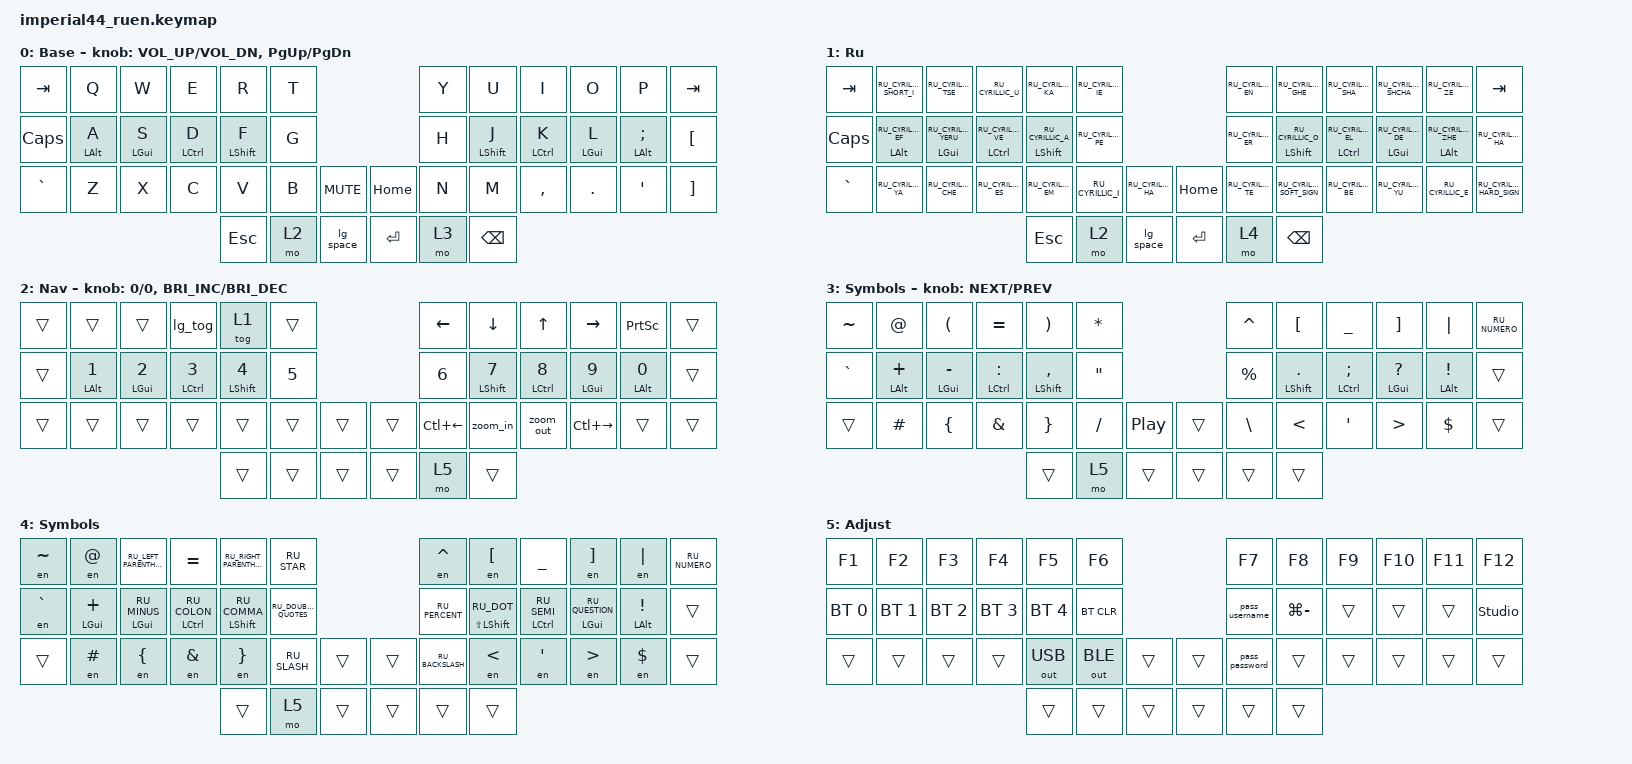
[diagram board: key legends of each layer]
#include "keys_ru.h"
#include <behaviors.dtsi>
#include <dt-bindings/zmk/bt.h>
#include <dt-bindings/zmk/keys.h>
#include <dt-bindings/zmk/outputs.h>

/ {
    combos { compatible = "zmk,combos"; };

    macros {
        to_ru: to_ru {
            compatible = "zmk,behavior-macro";
            #binding-cells = <0>;
            bindings = <&kp LG(SPACE)>;
            label = "TO_RU";
            wait-ms = <0>;
            tap-ms = <30>;
        };

        to_en: to_en {
            compatible = "zmk,behavior-macro";
            #binding-cells = <0>;
            bindings = <&kp LG(SPACE)>;
            label = "TO_EN";
            wait-ms = <0>;
            tap-ms = <30>;
        };

        layer_en: layer_en {
            compatible = "zmk,behavior-macro";
            #binding-cells = <0>;
            bindings = <&to 0 &to_en>;
            label = "LAYER_EN";
            wait-ms = <0>;
            tap-ms = <30>;
        };

        layer_ru: layer_ru {
            compatible = "zmk,behavior-macro";
            #binding-cells = <0>;
            bindings = <&to 1 &to_ru>;
            label = "LAYER_RU";
            tap-ms = <30>;
            wait-ms = <0>;
        };

        en: en {
            compatible = "zmk,behavior-macro-one-param";
            #binding-cells = <1>;
            bindings =
                <&to_en>,
                <&macro_press>,
                <&macro_param_1to1 &kp MACRO_PLACEHOLDER>,
                <&macro_pause_for_release>,
                <&macro_release>,
                <&macro_param_1to1 &kp MACRO_PLACEHOLDER>,
                <&macro_tap>,
                <&to_ru>;

            label = "EN";
            wait-ms = <0>;
            tap-ms = <30>;
        };

        lg_tog: lg_tog {
            compatible = "zmk,behavior-macro";
            #binding-cells = <0>;
            bindings = <&kp LG(SPACE) &tog 1>;
            label = "LG_TOG";
        };

        pass_username: next_window {
            compatible = "zmk,behavior-macro";
            #binding-cells = <0>;
            bindings = <&kp LG(LS(F1))>;
            label = "NEXT_WINDOW";
        };

        pass_password: pass_password {
            compatible = "zmk,behavior-macro";
            #binding-cells = <0>;
            bindings = <&kp LG(F1)>;
            label = "PASS_PASSWORD";
        };

        zoom_in: zoom_in {
            compatible = "zmk,behavior-macro";
            #binding-cells = <0>;
            bindings = <&kp LC(PLUS)>;
            label = "ZOOM_IN";
        };

        zoom_out: zoom_out {
            compatible = "zmk,behavior-macro";
            #binding-cells = <0>;
            bindings = <&kp LC(LS(MINUS))>;
            label = "ZOOM_OUT";
        };
    };

    behaviors {
        lg_space: lg_space {
            compatible = "zmk,behavior-mod-morph";
            label = "toggle 'ru' layer with LGUI";
            bindings = <&kp SPACE>, <&lg_tog>;

            #binding-cells = <0>;
            mods = <(MOD_LGUI)>;
        };

        HMShiftR: HMShiftR {
            compatible = "zmk,behavior-hold-tap";
            label = "HMSHIFTR";
            bindings = <&kp>, <&kp>;

            #binding-cells = <2>;
            tapping-term-ms = <300>;
            hold-while-undecided;
            hold-trigger-key-positions = <0 12 24 25 13 1 2 3 4 5 14 15 16 17 26 27 28 29 30 28 29 30 38 39 40>;
            hold-trigger-on-release;
        };

        HMShiftL: HMShiftL {
            compatible = "zmk,behavior-hold-tap";
            label = "HMSHIFTL";
            bindings = <&kp>, <&kp>;

            #binding-cells = <2>;
            tapping-term-ms = <300>;
            hold-while-undecided;
            hold-trigger-key-positions = <6 7 8 9 10 11 18 19 20 21 22 23 31 32 33 34 35 36 37 41 42 43>;
            hold-trigger-on-release;
        };

        HMR: HMR {
            compatible = "zmk,behavior-hold-tap";
            label = "HMR";
            bindings = <&kp>, <&kp>;

            #binding-cells = <2>;
            tapping-term-ms = <200>;
            flavor = "balanced";
            hold-trigger-key-positions = <0 1 2 4 5 12 13 14 15 16 17 24 25 26 27 28 29 30 3>;
            quick-tap-ms = <175>;
        };

        HML: HML {
            compatible = "zmk,behavior-hold-tap";
            label = "HML";
            bindings = <&kp>, <&kp>;

            #binding-cells = <2>;
            tapping-term-ms = <200>;
            flavor = "balanced";
            hold-trigger-key-positions = <6 7 8 9 10 11 18 19 20 21 22 23 31 32 33 34 35 36 37>;
            quick-tap-ms = <175>;
        };
    };

    keymap {
        compatible = "zmk,keymap";

        en {
            bindings = <
&kp TAB       &kp Q            &kp W            &kp E         &kp R              &kp T                           &kp Y  &kp U              &kp I         &kp O            &kp P               &kp TAB
&kp CAPSLOCK  &HML LEFT_ALT A  &HML LEFT_GUI S  &HML LCTRL D  &HML LEFT_SHIFT F  &kp G                           &kp H  &HMR LEFT_SHIFT J  &HMR LCTRL K  &HMR LEFT_GUI L  &HMR LEFT_ALT SEMI  &kp LEFT_BRACKET
&kp GRAVE     &kp Z            &kp X            &kp C         &kp V              &kp B  &kp C_MUTE    &kp HOME   &kp N  &kp M              &kp COMMA     &kp DOT          &kp SQT             &kp RIGHT_BRACKET
                                                              &kp ESC            &mo 2  &lg_space     &kp ENTER  &mo 3  &kp BACKSPACE
            >;

            display-name = "Base";
            sensor-bindings =
                <&inc_dec_kp C_VOL_UP C_VOL_DN>,
                <&inc_dec_kp PG_UP PG_DN>;
        };

        ru {
            display-name = "Ru";
            bindings = <
&kp TAB       &kp RU_CYRILLIC_SHORT_I       &kp RU_CYRILLIC_TSE             &kp RU_CYRILLIC_U          &kp RU_CYRILLIC_KA             &kp RU_CYRILLIC_IE                                   &kp RU_CYRILLIC_EN  &kp RU_CYRILLIC_GHE            &kp RU_CYRILLIC_SHA        &kp RU_CYRILLIC_SHCHA         &kp RU_CYRILLIC_ZE             &kp TAB
&kp CAPSLOCK  &HML LEFT_ALT RU_CYRILLIC_EF  &HML LEFT_GUI RU_CYRILLIC_YERU  &HML LCTRL RU_CYRILLIC_VE  &HML LEFT_SHIFT RU_CYRILLIC_A  &kp RU_CYRILLIC_PE                                   &kp RU_CYRILLIC_ER  &HMR LEFT_SHIFT RU_CYRILLIC_O  &HMR LCTRL RU_CYRILLIC_EL  &HMR LEFT_GUI RU_CYRILLIC_DE  &HMR LEFT_ALT RU_CYRILLIC_ZHE  &kp RU_CYRILLIC_HA
&kp GRAVE     &kp RU_CYRILLIC_YA            &kp RU_CYRILLIC_CHE             &kp RU_CYRILLIC_ES         &kp RU_CYRILLIC_EM             &kp RU_CYRILLIC_I   &kp RU_CYRILLIC_HA    &kp HOME   &kp RU_CYRILLIC_TE  &kp RU_CYRILLIC_SOFT_SIGN      &kp RU_CYRILLIC_BE         &kp RU_CYRILLIC_YU            &kp RU_CYRILLIC_E              &kp RU_CYRILLIC_HARD_SIGN
                                                                                                       &kp ESC                        &mo 2               &lg_space             &kp ENTER  &mo 4               &kp BACKSPACE
            >;
        };

        nav {
            bindings = <
&trans  &trans            &trans            &lg_tog        &tog 1              &trans                    &kp LEFT            &kp DOWN            &kp UP         &kp RIGHT         &kp PSCRN         &trans
&trans  &HML LEFT_ALT N1  &HML LEFT_GUI N2  &HML LCTRL N3  &HML LEFT_SHIFT N4  &kp N5                    &kp N6              &HMR LEFT_SHIFT N7  &HMR LCTRL N8  &HMR LEFT_GUI N9  &HMR LEFT_ALT N0  &trans
&trans  &trans            &trans            &trans         &trans              &trans  &trans    &trans  &kp LC(LEFT_ARROW)  &zoom_in            &zoom_out      &kp LC(RIGHT)     &trans            &trans
                                                           &trans              &trans  &trans    &trans  &mo 5               &trans
            >;

            display-name = "Nav";
            sensor-bindings =
                <&inc_dec_kp 0 0>,
                <&inc_dec_kp C_BRIGHTNESS_INC C_BRIGHTNESS_DEC>;
        };

        sym_en {
            bindings = <
&kp TILDE  &kp AT              &kp LPAR             &kp EQUAL         &kp RPAR               &kp ASTRK                              &kp CARET      &kp LBKT         &kp UNDER         &kp RBKT                &kp PIPE            &kp RU_NUMERO
&kp GRAVE  &HML LEFT_ALT PLUS  &HML LEFT_GUI MINUS  &HML LCTRL COLON  &HML LEFT_SHIFT COMMA  &kp DQT                                &kp PRCNT      &HMR LSHIFT DOT  &HMR LCTRL SEMI   &HMR LEFT_GUI QUESTION  &HMR LEFT_ALT EXCL  &trans
&trans     &kp HASH            &kp LEFT_BRACE       &kp AMPERSAND     &kp RIGHT_BRACE        &kp FSLH   &kp C_PLAY_PAUSE    &trans  &kp BACKSLASH  &kp LESS_THAN    &kp SINGLE_QUOTE  &kp GREATER_THAN        &kp DOLLAR          &trans
                                                                      &trans                 &mo 5      &trans              &trans  &trans         &trans
            >;

            display-name = "Symbols";
            sensor-bindings = <&inc_dec_kp C_NEXT C_PREV>;
        };

        sym_ru {
            display-name = "Symbols";
            bindings = <
&en TILDE  &en AT_SIGN         &kp RU_LEFT_PARENTHESIS  &kp EQUAL            &kp RU_RIGHT_PARENTHESIS  &kp RU_STAR                             &en CARET         &en LBKT                    &kp UNDER           &en RBKT                   &en PIPE            &kp RU_NUMERO
&en GRAVE  &HML LEFT_GUI PLUS  &HML LEFT_GUI RU_MINUS   &HML LCTRL RU_COLON  &HML LEFT_SHIFT RU_COMMA  &kp RU_DOUBLE_QUOTES                    &kp RU_PERCENT    &HMR LS(LEFT_SHIFT) RU_DOT  &HMR LCTRL RU_SEMI  &HMR LEFT_GUI RU_QUESTION  &HMR LEFT_ALT EXCL  &trans
&trans     &en HASH            &en LEFT_BRACE           &en AMPERSAND        &en RIGHT_BRACE           &kp RU_SLASH          &trans    &trans  &kp RU_BACKSLASH  &en LESS_THAN               &en SINGLE_QUOTE    &en GREATER_THAN           &en DOLLAR          &trans
                                                                             &trans                    &mo 5                 &trans    &trans  &trans            &trans
            >;
        };

        adj {
            bindings = <
&kp F1        &kp F2        &kp F3        &kp F4        &kp F5        &kp F6                          &kp F7          &kp F8         &kp F9  &kp F10  &kp F11  &kp F12
&bt BT_SEL 0  &bt BT_SEL 1  &bt BT_SEL 2  &bt BT_SEL 3  &bt BT_SEL 4  &bt BT_CLR                      &pass_username  &kp LG(MINUS)  &trans  &trans   &trans   &studio_unlock
&trans        &trans        &trans        &trans        &out OUT_USB  &out OUT_BLE  &trans    &trans  &pass_password  &trans         &trans  &trans   &trans   &trans
                                                        &trans        &trans        &trans    &trans  &trans          &trans
            >;

            display-name = "Adjust";
        };
    };
};
